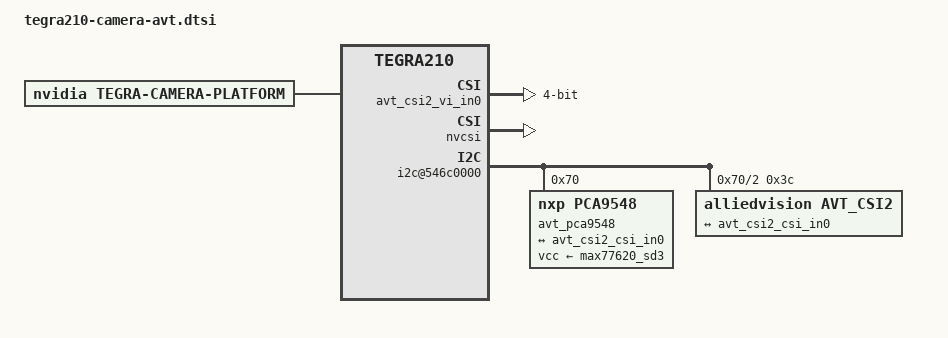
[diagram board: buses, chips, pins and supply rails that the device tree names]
/*
 * Copyright (c) 2015-2018, NVIDIA CORPORATION.  All rights reserved.
 *
 * This program is free software; you can redistribute it and/or modify
 * it under the terms of the GNU General Public License as published by
 * the Free Software Foundation; either version 2 of the License, or
 * (at your option) any later version.
 *
 * This program is distributed in the hope that it will be useful, but WITHOUT
 * ANY WARRANTY; without even the implied warranty of MERCHANTABILITY or
 * FITNESS FOR A PARTICULAR PURPOSE.  See the GNU General Public License for
 * more details.
 *
 * You should have received a copy of the GNU General Public License
 * along with this program.  If not, see <http://www.gnu.org/licenses/>.
 */

#include <dt-bindings/media/camera.h>
#include <dt-bindings/platform/t210/t210.h>

#define CAMERA_I2C_MUX_BUS(x) (0x1E + x)

/ {
	host1x {
		vi {
			status = "okay";
			num-channels = <1>;
			ports {
				status = "okay";
				#address-cells = <1>;
				#size-cells = <0>;
				port@0 {
					status ="okay";
					reg = <0>;
					avt_csi2_vi_in0: endpoint {
						status = "okay";
						port-index = <0>;
						bus-width = <4>;
						remote-endpoint = <&avt_csi2_csi_out0>;
					};
				};
			};
		};

		nvcsi {
			status = "okay";
			num-channels = <1>;
			#address-cells = <1>;
			#size-cells = <0>;
			channel@0 {
				status = "okay";
				reg = <0>;
				ports {
					status = "okay";
					#address-cells = <1>;
					#size-cells = <0>;
					port@0 {
						status = "okay";
						reg = <0>;
						avt_csi2_csi_in0: endpoint@0 {
							port-index = <0>;
							bus-width = <4>;
							remote-endpoint = <&avt_csi2_out0>;
						};
					};
					port@1 {
						status = "okay";
						reg = <1>;
						avt_csi2_csi_out0: endpoint@1 {
							remote-endpoint = <&avt_csi2_vi_in0>;
						};
					};
				};
			};
		};

		i2c@546c0000 {
			avt_pca9548: avt_pca9548@70 {
				compatible = "nxp,pca9548";
				status = "okay";
				reg = <0x70>;
				#address-cells = <1>;
				#size-cells = <0>;
				vcc-supply = <&max77620_sd3>;
				force_bus_start = <CAMERA_I2C_MUX_BUS(0)>;

				i2c@2 {
					reg = <2>;
					i2c-mux,deselect-on-exit;
					#address-cells = <1>;
					#size-cells = <0>;
					avt_csi2@3c {
						status = "okay";
						mclk = "extperiph1";

						devnode = "video0";
						compatible = "alliedvision,avt_csi2";
						reg = <0x3c>;

						ports {
							#address-cells = <1>;
							#size-cells = <0>;

							port@0 {
								reg = <0>;
								avt_csi2_out0: endpoint {
									port-index = <0>;
									bus-width = <4>;
									remote-endpoint = <&avt_csi2_csi_in0>;
								};
							};
						};

						mode0 {
							num_lanes = "4";
							tegra_sinterface = "serial_a";
							discontinuous_clk = "no";
							cil_settletime = "0";
							embedded_metadata_height = "0";

							/* not verified: */
							mclk_khz = "24000";
							phy_mode = "DPHY";
							dpcm_enable = "false";

							active_w = "5488";
							active_h = "4112";
							pixel_t = "bayer_bggr";
							readout_orientation = "0";
							line_length = "5488";
							inherent_gain = "1";
							mclk_multiplier = "31.25";
							pix_clk_hz = "750000000";

							gain_factor = "16";
							framerate_factor = "1000000";
							exposure_factor = "1000000";
							min_gain_val = "16"; /* 1.0 */
							max_gain_val = "256"; /* 16.0 */
							step_gain_val = "1"; /* 0.125 */
							min_hdr_ratio = "1";
							max_hdr_ratio = "64";
							min_framerate = "1500000"; /* 1.5 */
							max_framerate = "30000000"; /* 30 */
							step_framerate = "1";
							min_exp_time = "34"; /* us */
							max_exp_time = "550385"; /* us */
							step_exp_time = "1";
						};
					};
				};
			};
		};
	};
};

/ {
	tegra-camera-platform {
		compatible = "nvidia, tegra-camera-platform";
		status = "okay";
		/**
		* Physical settings to calculate max ISO BW
		*
		* num_csi_lanes = <>;
		* Total number of CSI lanes when all cameras are active
		*
		* max_lane_speed = <>;
		* Max lane speed in Kbit/s
		*
		* min_bits_per_pixel = <>;
		* Min bits per pixel
		*
		* vi_peak_byte_per_pixel = <>;
		* Max byte per pixel for the VI ISO case
		*
		* vi_bw_margin_pct = <>;
		* Vi bandwidth margin in percentage
		*
		* max_pixel_rate = <>;
		* Max pixel rate in Kpixel/s for the ISP ISO case
		*
		* isp_peak_byte_per_pixel = <>;
		* Max byte per pixel for the ISP ISO case
		*
		* isp_bw_margin_pct = <>;
		* Isp bandwidth margin in percentage
		*/
		num_csi_lanes = <4>;
		max_lane_speed = <1500000>;
		min_bits_per_pixel = <8>;
		vi_peak_byte_per_pixel = <2>;
		vi_bw_margin_pct = <25>;
		max_pixel_rate = <160000>;
		isp_peak_byte_per_pixel = <5>;
		isp_bw_margin_pct = <25>;

		/**
		* The general guideline for naming badge_info contains 3 parts, and is as follows,
		* The first part is the camera_board_id for the module; if the module is in a FFD
		* platform, then use the platform name for this part.
		* The second part contains the position of the module, ex. “rear” or “front”.
		* The third part contains the last 6 characters of a part number which is found
		* in the module's specsheet from the vender.
		*/
		modules {
			status = "okay";
			module0 {
				status = "okay";
				badge = "avt_csi2";
				position = "front";
				orientation = "1";
				drivernode0 {
					status = "okay";
					/* Declare PCL support driver (classically known as guid)  */
					pcl_id = "v4l2_sensor";
					/* Driver v4l2 device name */
					devname = "avt_csi2 32-003c";
					/* Declare the device-tree hierarchy to driver instance */
					proc-device-tree =
						"/proc/device-tree/host1x/i2c@546c0000/tca9548@70/i2c@2/avt_csi2@3c";
				};
			};
		};
	};
};
